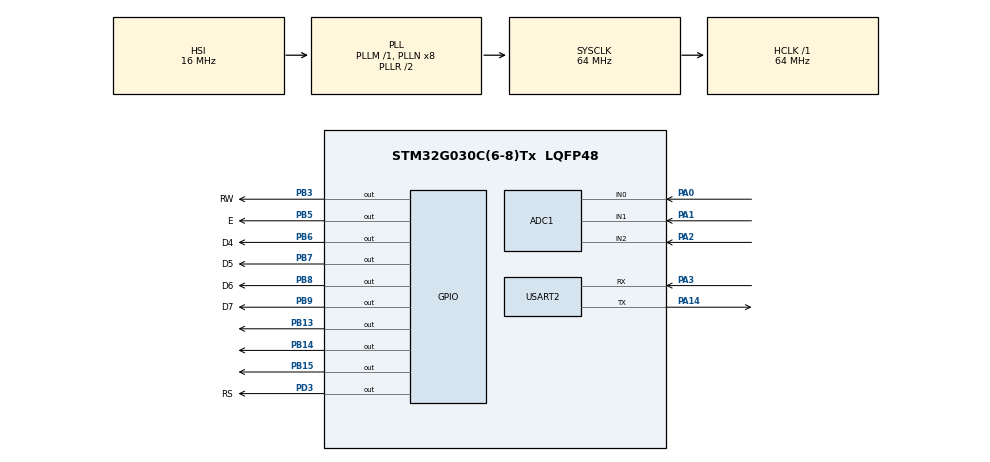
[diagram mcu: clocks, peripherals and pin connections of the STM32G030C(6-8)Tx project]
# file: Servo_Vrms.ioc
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ADC1.Channel-0\#ChannelRegularConversion=ADC_CHANNEL_0
ADC1.Channel-1\#ChannelRegularConversion=ADC_CHANNEL_1
ADC1.Channel-2\#ChannelRegularConversion=ADC_CHANNEL_2
ADC1.ContinuousConvMode=ENABLE
ADC1.NbrOfConversion=3
ADC1.NbrOfConversionFlag=1
ADC1.Rank-0\#ChannelRegularConversion=1
ADC1.Rank-1\#ChannelRegularConversion=2
ADC1.Rank-2\#ChannelRegularConversion=3
ADC1.SamplingTime-0\#ChannelRegularConversion=ADC_SAMPLINGTIME_COMMON_1
ADC1.SamplingTime-1\#ChannelRegularConversion=ADC_SAMPLINGTIME_COMMON_1
ADC1.SamplingTime-2\#ChannelRegularConversion=ADC_SAMPLINGTIME_COMMON_1
ADC1.SamplingTimeCommon1=ADC_SAMPLETIME_12CYCLES_5
ADC1.SelectedChannel=ADC_CHANNEL_0|ADC_CHANNEL_1|ADC_CHANNEL_2
ADC1.master=1
Dma.ADC1.0.Direction=DMA_PERIPH_TO_MEMORY
Dma.ADC1.0.EventEnable=DISABLE
Dma.ADC1.0.Instance=DMA1_Channel1
Dma.ADC1.0.MemDataAlignment=DMA_MDATAALIGN_HALFWORD
Dma.ADC1.0.MemInc=DMA_MINC_ENABLE
Dma.ADC1.0.Mode=DMA_NORMAL
Dma.ADC1.0.PeriphDataAlignment=DMA_PDATAALIGN_HALFWORD
Dma.ADC1.0.PeriphInc=DMA_PINC_DISABLE
Dma.ADC1.0.Polarity=HAL_DMAMUX_REQ_GEN_RISING
Dma.ADC1.0.Priority=DMA_PRIORITY_LOW
Dma.ADC1.0.RequestNumber=1
Dma.ADC1.0.SignalID=NONE
Dma.ADC1.0.SyncEnable=DISABLE
Dma.ADC1.0.SyncPolarity=HAL_DMAMUX_SYNC_NO_EVENT
Dma.ADC1.0.SyncRequestNumber=1
Dma.ADC1.0.SyncSignalID=NONE
Dma.Request0=ADC1
Mcu.Family=STM32G0
Mcu.Name=STM32G030C(6-8)Tx
Mcu.Package=LQFP48
NVIC.DMA1_Channel1_IRQn=true\:0\:0\:false\:false\:true\:false\:true\:true
PA0.Mode=IN0
PA0.Signal=ADC1_IN0
PA1.Mode=IN1
PA1.Signal=ADC1_IN1
PA14-BOOT0.Mode=Asynchronous
PA14-BOOT0.Signal=USART2_TX
PA2.Mode=IN2
PA2.Signal=ADC1_IN2
PA3.Mode=Asynchronous
PA3.Signal=USART2_RX
PB13.Signal=GPIO_Output
PB14.Signal=GPIO_Output
PB15.Signal=GPIO_Output
PB3.GPIO_Label=RW
PB3.Signal=GPIO_Output
PB5.GPIO_Label=E
PB5.Signal=GPIO_Output
PB6.GPIO_Label=D4
PB6.Signal=GPIO_Output
PB7.GPIO_Label=D5
PB7.Signal=GPIO_Output
PB8.GPIO_Label=D6
PB8.Signal=GPIO_Output
PB9.GPIO_Label=D7
PB9.Signal=GPIO_Output
PC14-OSC32_IN\ (PC14).Mode=LSE-External-Oscillator
PC14-OSC32_IN\ (PC14).Signal=RCC_OSC32_IN
PC15-OSC32_OUT\ (PC15).Mode=LSE-External-Oscillator
PC15-OSC32_OUT\ (PC15).Signal=RCC_OSC32_OUT
PD3.GPIO_Label=RS
PD3.Signal=GPIO_Output
PF0-OSC_IN\ (PF0).Mode=HSE-External-Oscillator
PF0-OSC_IN\ (PF0).Signal=RCC_OSC_IN
PF1-OSC_OUT\ (PF1).Mode=HSE-External-Oscillator
PF1-OSC_OUT\ (PF1).Signal=RCC_OSC_OUT
ProjectManager.HeapSize=0x200
ProjectManager.StackSize=0x400
ProjectManager.TargetToolchain=STM32CubeIDE
RCC.ADCFreq_Value=64000000
RCC.AHBFreq_Value=64000000
RCC.CortexFreq_Value=64000000
RCC.EXTERNAL_CLOCK_VALUE=12288000
RCC.HCLKFreq_Value=64000000
RCC.HSE_VALUE=8000000
RCC.HSI_VALUE=16000000
RCC.SYSCLKFreq_VALUE=64000000
RCC.SYSCLKSource=RCC_SYSCLKSOURCE_PLLCLK
RCC.VCOOutputFreq_Value=128000000
TIM1.Period=0xffff-1
TIM1.Prescaler=72-1
USART2.VirtualMode-Asynchronous=VM_ASYNC
VP_TIM1_VS_ClockSourceINT.Mode=Internal
board=custom

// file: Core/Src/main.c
/* USER CODE BEGIN Header */
/**
  ******************************************************************************
  * @file           : main.c
  * @brief          : Main program body
  ******************************************************************************
  * @attention
  *
  * Copyright (c) 2023 STMicroelectronics.
  * All rights reserved.
  *
  * This software is licensed under terms that can be found in the LICENSE file
  * in the root directory of this software component.
  * If no LICENSE file comes with this software, it is provided AS-IS.
  *
  ******************************************************************************
  */
/* USER CODE END Header */
#include "main.h"

/* USER CODE BEGIN Includes */
#include<stdio.h>
#include"string.h"
#include "math.h"
/* USER CODE END Includes */

/* USER CODE BEGIN PTD */
typedef enum
{
	Fun_Ok, //Represents FADC status that it is OK
	Fun_Error, //Represents FADC Error
	Fun_Timeout //Represents that FADC is timed out
}Fun_Status;
typedef enum
{
	ADC_DMA_Init,
	ADC_DMA_Started,
	ADC_DMA_Completed
}ADC_DMA_Status;

/* USER CODE END PTD */

/* USER CODE BEGIN PM */
#define fact_val 3
#define fact_val_addr *((uint16_t*)0x1FFF75AA)
#define Reso 4095
#define no_of_samples 300
#define DMA_Time_Out 100
#define NumOfADCChan 3
#define EachChanSample 100

#ifdef  __GNUC__
#define PUTCHAR_PROTOTYPE int __io_putchar(int ch)
#else
#define PUTCHAR_PROTOTYPE int fputc(int ch, FILE *f)
#endif
/* USER CODE END PM */

ADC_HandleTypeDef hadc1;
DMA_HandleTypeDef hdma_adc1;

TIM_HandleTypeDef htim1;

UART_HandleTypeDef huart2;

/* USER CODE BEGIN PV */
typedef struct{
	float Vref;
	float K;
	float DCoffset;
	ADC_DMA_Status StatusDMA;
	ADC_HandleTypeDef* HADC;
	uint16_t ADC_DMA_Sample[NumOfADCChan*EachChanSample];
}ADCPar;
ADCPar ADCVar;

/* USER CODE END PV */

void SystemClock_Config(void);
static void MX_GPIO_Init(void);
static void MX_DMA_Init(void);
static void MX_TIM1_Init(void);
static void MX_USART2_UART_Init(void);
static void MX_ADC1_Init(void);

/* USER CODE BEGIN 0 */
PUTCHAR_PROTOTYPE
{
	HAL_UART_Transmit(&huart2, (uint8_t *)&ch, 1, HAL_MAX_DELAY);
	return ch;
}

void Vrefint_init(ADC_HandleTypeDef* HADC)
{

  /* USER CODE BEGIN ADC1_Init 0 */

  /* USER CODE END ADC1_Init 0 */

  ADC_ChannelConfTypeDef sConfig = {0};

  /* USER CODE BEGIN ADC1_Init 1 */

  /* USER CODE END ADC1_Init 1 */

  /** Configure the global features of the ADC (Clock, Resolution, Data Alignment and number of conversion)
  */
  HADC->Instance = ADC1;
  HADC->Init.ClockPrescaler = ADC_CLOCK_SYNC_PCLK_DIV2;
  HADC->Init.Resolution = ADC_RESOLUTION_12B;
  HADC->Init.DataAlign = ADC_DATAALIGN_RIGHT;
  HADC->Init.ScanConvMode = ADC_SCAN_DISABLE;
  HADC->Init.EOCSelection = ADC_EOC_SINGLE_CONV;
  HADC->Init.LowPowerAutoWait = DISABLE;
  HADC->Init.LowPowerAutoPowerOff = DISABLE;
  HADC->Init.ContinuousConvMode = DISABLE;
  HADC->Init.NbrOfConversion = 1;
  HADC->Init.DiscontinuousConvMode = DISABLE;
  HADC->Init.ExternalTrigConv = ADC_SOFTWARE_START;
  HADC->Init.ExternalTrigConvEdge = ADC_EXTERNALTRIGCONVEDGE_NONE;
  HADC->Init.DMAContinuousRequests = DISABLE;
  HADC->Init.Overrun = ADC_OVR_DATA_PRESERVED;
  HADC->Init.SamplingTimeCommon1 = ADC_SAMPLETIME_1CYCLE_5;
  HADC->Init.SamplingTimeCommon2 = ADC_SAMPLETIME_1CYCLE_5;
  HADC->Init.OversamplingMode = DISABLE;
  HADC->Init.TriggerFrequencyMode = ADC_TRIGGER_FREQ_HIGH;
  if (HAL_ADC_Init(&hadc1) != HAL_OK)
  {

  }

  /** Configure Regular Channel
  */
  sConfig.Channel = ADC_CHANNEL_VREFINT;
  sConfig.Rank = ADC_REGULAR_RANK_1;
  sConfig.SamplingTime = ADC_SAMPLINGTIME_COMMON_1;
  if (HAL_ADC_ConfigChannel(&hadc1, &sConfig) != HAL_OK)
  {

  }
  /* USER CODE BEGIN ADC1_Init 2 */

  /* USER CODE END ADC1_Init 2 */

}

//Fun_Status GetVref(ADCPar * ADCValues)
//{
//	  Vrefint_init(ADCValues->HADC);
//	  if(HAL_ADC_Start(ADCValues->HADC) != HAL_OK)
//	  {
//		return Fun_Error;
//	  }
//	  if(HAL_ADC_PollForConversion(ADCValues->HADC, HAL_MAX_DELAY) != HAL_OK)
//	  {
//		  return Fun_Error;
//	  }
//	  ADCValues->Vref = HAL_ADC_GetValue(ADCValues->HADC);
//	  if(HAL_ADC_Stop(ADCValues->HADC) != HAL_OK)
//	  {
//		  return Fun_Error;
//	  }
//	  ADCValues->Vref =(fact_val * fact_val_addr)/ADCValues->Vref;
//	  ADCValues->K=ADCValues->Vref/Reso;
//	  //3 channel init
//	  MX_ADC1_Init();
//	  return Fun_Ok;
//}
//
Fun_Status FADC_Get_VRMS(ADCPar* FADC_p){

	long double VRMS_R_hold = 0; //Declaring R_Phase
	long double VRMS_Y_hold = 0; //Declaring Y_Phase
	long double VRMS_B_hold = 0; //Declaring B_Phase
	FADC_p->StatusDMA = ADC_DMA_Started;
	HAL_ADC_Start_DMA(FADC_p->HADC,(uint32_t*)FADC_p->ADC_DMA_Sample , sizeof(FADC_p->ADC_DMA_Sample));
	uint32_t DMA_TimeIn = HAL_GetTick();

	while(FADC_p->StatusDMA != ADC_DMA_Started)
	{
		if((HAL_GetTick() - DMA_TimeIn) > 100 )
		{
			return Fun_Timeout;
		}
	}

	if(FADC_p->StatusDMA == ADC_DMA_Completed)
	{
		for(uint16_t id = 0; id < EachChanSample;id++ )
		{
			VRMS_R_hold = FADC_p->ADC_DMA_Sample[id*3]*FADC_p->K;
			VRMS_R_hold = (VRMS_R_hold - FADC_p->DCoffset);
			VRMS_R_hold *= VRMS_R_hold; // May be need to change

			VRMS_Y_hold = FADC_p->ADC_DMA_Sample[(id*3) + 1]*FADC_p->K;
			VRMS_Y_hold = (VRMS_Y_hold - FADC_p->DCoffset);
			VRMS_Y_hold *= VRMS_Y_hold;

			VRMS_B_hold = FADC_p->ADC_DMA_Sample[(id*3)+2]*FADC_p->K;
			VRMS_B_hold = (VRMS_B_hold - FADC_p->DCoffset);
			VRMS_B_hold *= VRMS_B_hold;
		}
		VRMS_R_hold = VRMS_R_hold / EachChanSample;
		VRMS_R_hold = sqrt(VRMS_R_hold);

		VRMS_Y_hold = VRMS_Y_hold / EachChanSample;
		VRMS_Y_hold = sqrt(VRMS_Y_hold);

		VRMS_B_hold = VRMS_B_hold / EachChanSample;
		VRMS_B_hold = sqrt(VRMS_B_hold);

		printf("Input voltage : Output voltage : current\n");
		printf("%d : %d : %d",(int)VRMS_R_hold,(int)VRMS_Y_hold,(int)VRMS_B_hold);

	}
	return Fun_Ok;
}

void HAL_ADC_ConvCpltCallback(ADC_HandleTypeDef *hadc)
{
	if(hadc->Instance == ADCVar.HADC->Instance)
	{
		ADCVar.StatusDMA = ADC_DMA_Completed;
	}
}

/* USER CODE END 0 */

int main(void)
{

  /* MCU Configuration--------------------------------------------------------*/

  /* Reset of all peripherals, Initializes the Flash interface and the Systick. */
  HAL_Init();

  /* Configure the system clock */
  SystemClock_Config();

  /* Initialize all configured peripherals */
  MX_GPIO_Init();
  MX_DMA_Init();
  MX_TIM1_Init();
  MX_USART2_UART_Init();
  MX_ADC1_Init();
  /* USER CODE BEGIN 2 */
//  memset(&ADCVar, 0,sizeof(ADCPar));
  //GetVref(&ADCVar);
  /* USER CODE END 2 */

  /* Infinite loop */
  while (1)
  {

    /* USER CODE BEGIN 3 */
	  FADC_Get_VRMS(&ADCVar);
	  HAL_Delay(1000);

  }
  /* USER CODE END 3 */
}

void SystemClock_Config(void)
{
  RCC_OscInitTypeDef RCC_OscInitStruct = {0};
  RCC_ClkInitTypeDef RCC_ClkInitStruct = {0};

  /** Configure the main internal regulator output voltage
  */
  HAL_PWREx_ControlVoltageScaling(PWR_REGULATOR_VOLTAGE_SCALE1);

  /** Initializes the RCC Oscillators according to the specified parameters
  * in the RCC_OscInitTypeDef structure.
  */
  RCC_OscInitStruct.OscillatorType = RCC_OSCILLATORTYPE_HSI;
  RCC_OscInitStruct.HSIState = RCC_HSI_ON;
  RCC_OscInitStruct.HSIDiv = RCC_HSI_DIV1;
  RCC_OscInitStruct.HSICalibrationValue = RCC_HSICALIBRATION_DEFAULT;
  RCC_OscInitStruct.PLL.PLLState = RCC_PLL_ON;
  RCC_OscInitStruct.PLL.PLLSource = RCC_PLLSOURCE_HSI;
  RCC_OscInitStruct.PLL.PLLM = RCC_PLLM_DIV1;
  RCC_OscInitStruct.PLL.PLLN = 8;
  RCC_OscInitStruct.PLL.PLLP = RCC_PLLP_DIV2;
  RCC_OscInitStruct.PLL.PLLR = RCC_PLLR_DIV2;
  if (HAL_RCC_OscConfig(&RCC_OscInitStruct) != HAL_OK)
  {
    Error_Handler();
  }

  /** Initializes the CPU, AHB and APB buses clocks
  */
  RCC_ClkInitStruct.ClockType = RCC_CLOCKTYPE_HCLK|RCC_CLOCKTYPE_SYSCLK
                              |RCC_CLOCKTYPE_PCLK1;
  RCC_ClkInitStruct.SYSCLKSource = RCC_SYSCLKSOURCE_PLLCLK;
  RCC_ClkInitStruct.AHBCLKDivider = RCC_SYSCLK_DIV1;
  RCC_ClkInitStruct.APB1CLKDivider = RCC_HCLK_DIV1;

  if (HAL_RCC_ClockConfig(&RCC_ClkInitStruct, FLASH_LATENCY_2) != HAL_OK)
  {
    Error_Handler();
  }
}

static void MX_ADC1_Init(void)
{

  ADC_ChannelConfTypeDef sConfig = {0};

  /** Configure the global features of the ADC (Clock, Resolution, Data Alignment and number of conversion)
  */
  hadc1.Instance = ADC1;
  hadc1.Init.ClockPrescaler = ADC_CLOCK_SYNC_PCLK_DIV2;
  hadc1.Init.Resolution = ADC_RESOLUTION_12B;
  hadc1.Init.DataAlign = ADC_DATAALIGN_RIGHT;
  hadc1.Init.ScanConvMode = ADC_SCAN_ENABLE;
  hadc1.Init.EOCSelection = ADC_EOC_SINGLE_CONV;
  hadc1.Init.LowPowerAutoWait = DISABLE;
  hadc1.Init.LowPowerAutoPowerOff = DISABLE;
  hadc1.Init.ContinuousConvMode = ENABLE;
  hadc1.Init.NbrOfConversion = 3;
  hadc1.Init.ExternalTrigConv = ADC_SOFTWARE_START;
  hadc1.Init.ExternalTrigConvEdge = ADC_EXTERNALTRIGCONVEDGE_NONE;
  hadc1.Init.DMAContinuousRequests = DISABLE;
  hadc1.Init.Overrun = ADC_OVR_DATA_PRESERVED;
  hadc1.Init.SamplingTimeCommon1 = ADC_SAMPLETIME_12CYCLES_5;
  hadc1.Init.SamplingTimeCommon2 = ADC_SAMPLETIME_1CYCLE_5;
  hadc1.Init.OversamplingMode = DISABLE;
  hadc1.Init.TriggerFrequencyMode = ADC_TRIGGER_FREQ_HIGH;
  if (HAL_ADC_Init(&hadc1) != HAL_OK)
  {
    Error_Handler();
  }

  /** Configure Regular Channel
  */
  sConfig.Channel = ADC_CHANNEL_0;
  sConfig.Rank = ADC_REGULAR_RANK_1;
  sConfig.SamplingTime = ADC_SAMPLINGTIME_COMMON_1;
  if (HAL_ADC_ConfigChannel(&hadc1, &sConfig) != HAL_OK)
  {
    Error_Handler();
  }

  /** Configure Regular Channel
  */
  sConfig.Channel = ADC_CHANNEL_1;
  sConfig.Rank = ADC_REGULAR_RANK_2;
  if (HAL_ADC_ConfigChannel(&hadc1, &sConfig) != HAL_OK)
  {
    Error_Handler();
  }

  /** Configure Regular Channel
  */
  sConfig.Channel = ADC_CHANNEL_2;
  sConfig.Rank = ADC_REGULAR_RANK_3;
  if (HAL_ADC_ConfigChannel(&hadc1, &sConfig) != HAL_OK)
  {
    Error_Handler();
  }

}

static void MX_TIM1_Init(void)
{

  TIM_ClockConfigTypeDef sClockSourceConfig = {0};
  TIM_MasterConfigTypeDef sMasterConfig = {0};

  htim1.Instance = TIM1;
  htim1.Init.Prescaler = 72-1;
  htim1.Init.CounterMode = TIM_COUNTERMODE_UP;
  htim1.Init.Period = 0xffff-1;
  htim1.Init.ClockDivision = TIM_CLOCKDIVISION_DIV1;
  htim1.Init.RepetitionCounter = 0;
  htim1.Init.AutoReloadPreload = TIM_AUTORELOAD_PRELOAD_DISABLE;
  if (HAL_TIM_Base_Init(&htim1) != HAL_OK)
  {
    Error_Handler();
  }
  sClockSourceConfig.ClockSource = TIM_CLOCKSOURCE_INTERNAL;
  if (HAL_TIM_ConfigClockSource(&htim1, &sClockSourceConfig) != HAL_OK)
  {
    Error_Handler();
  }
  sMasterConfig.MasterOutputTrigger = TIM_TRGO_RESET;
  sMasterConfig.MasterOutputTrigger2 = TIM_TRGO2_RESET;
  sMasterConfig.MasterSlaveMode = TIM_MASTERSLAVEMODE_DISABLE;
  if (HAL_TIMEx_MasterConfigSynchronization(&htim1, &sMasterConfig) != HAL_OK)
  {
    Error_Handler();
  }

}

static void MX_USART2_UART_Init(void)
{

  huart2.Instance = USART2;
  huart2.Init.BaudRate = 115200;
  huart2.Init.WordLength = UART_WORDLENGTH_8B;
  huart2.Init.StopBits = UART_STOPBITS_1;
  huart2.Init.Parity = UART_PARITY_NONE;
  huart2.Init.Mode = UART_MODE_TX_RX;
  huart2.Init.HwFlowCtl = UART_HWCONTROL_NONE;
  huart2.Init.OverSampling = UART_OVERSAMPLING_16;
  huart2.Init.OneBitSampling = UART_ONE_BIT_SAMPLE_DISABLE;
  huart2.Init.ClockPrescaler = UART_PRESCALER_DIV1;
  huart2.AdvancedInit.AdvFeatureInit = UART_ADVFEATURE_NO_INIT;
  if (HAL_UART_Init(&huart2) != HAL_OK)
  {
    Error_Handler();
  }

}

static void MX_DMA_Init(void)
{

  /* DMA controller clock enable */
  __HAL_RCC_DMA1_CLK_ENABLE();

  /* DMA interrupt init */
  /* DMA1_Channel1_IRQn interrupt configuration */
  HAL_NVIC_SetPriority(DMA1_Channel1_IRQn, 0, 0);
  HAL_NVIC_EnableIRQ(DMA1_Channel1_IRQn);

}

static void MX_GPIO_Init(void)
{
  GPIO_InitTypeDef GPIO_InitStruct = {0};

  /* GPIO Ports Clock Enable */
  __HAL_RCC_GPIOC_CLK_ENABLE();
  __HAL_RCC_GPIOF_CLK_ENABLE();
  __HAL_RCC_GPIOA_CLK_ENABLE();
  __HAL_RCC_GPIOB_CLK_ENABLE();
  __HAL_RCC_GPIOD_CLK_ENABLE();

  /*Configure GPIO pin Output Level */
  HAL_GPIO_WritePin(GPIOB, GPIO_PIN_13|GPIO_PIN_14|GPIO_PIN_15|RW_Pin
                          |E_Pin|D4_Pin|D5_Pin|D6_Pin
                          |D7_Pin, GPIO_PIN_RESET);

  /*Configure GPIO pin Output Level */
  HAL_GPIO_WritePin(RS_GPIO_Port, RS_Pin, GPIO_PIN_RESET);

  /*Configure GPIO pins : PB13 PB14 PB15 RW_Pin
                           E_Pin D4_Pin D5_Pin D6_Pin
                           D7_Pin */
  GPIO_InitStruct.Pin = GPIO_PIN_13|GPIO_PIN_14|GPIO_PIN_15|RW_Pin
                          |E_Pin|D4_Pin|D5_Pin|D6_Pin
                          |D7_Pin;
  GPIO_InitStruct.Mode = GPIO_MODE_OUTPUT_PP;
  GPIO_InitStruct.Pull = GPIO_NOPULL;
  GPIO_InitStruct.Speed = GPIO_SPEED_FREQ_LOW;
  HAL_GPIO_Init(GPIOB, &GPIO_InitStruct);

  /*Configure GPIO pin : RS_Pin */
  GPIO_InitStruct.Pin = RS_Pin;
  GPIO_InitStruct.Mode = GPIO_MODE_OUTPUT_PP;
  GPIO_InitStruct.Pull = GPIO_NOPULL;
  GPIO_InitStruct.Speed = GPIO_SPEED_FREQ_LOW;
  HAL_GPIO_Init(RS_GPIO_Port, &GPIO_InitStruct);

}

void Error_Handler(void)
{
  __disable_irq();
  while (1)
  {
  }
}
